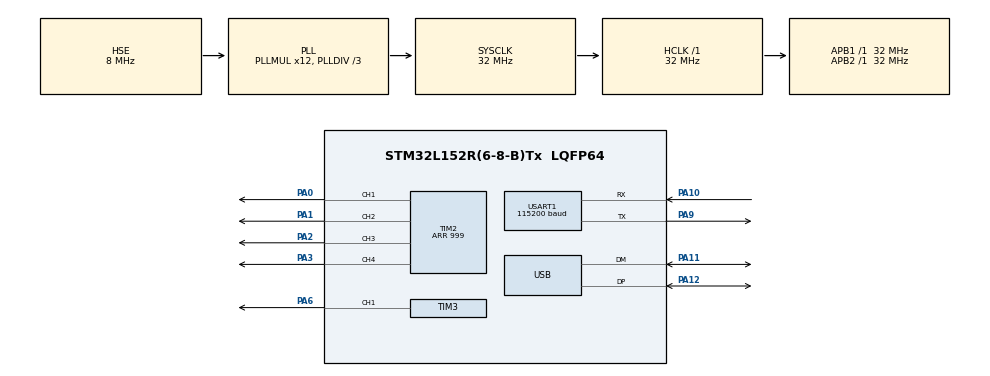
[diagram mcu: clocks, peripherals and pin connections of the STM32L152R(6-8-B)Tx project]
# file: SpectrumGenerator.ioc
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Mcu.Family=STM32L1
Mcu.Name=STM32L152R(6-8-B)Tx
Mcu.Package=LQFP64
NVIC.PriorityGroup=NVIC_PRIORITYGROUP_4
NVIC.USART1_IRQn=true\:0\:0\:false\:false\:true\:true
NVIC.USB_HP_IRQn=true\:0\:0\:false\:false\:true\:true
NVIC.USB_LP_IRQn=true\:0\:0\:false\:false\:true\:false
PA0-WKUP1.Signal=S_TIM2_CH1_ETR
PA1.Signal=S_TIM2_CH2
PA10.Mode=Asynchronous
PA10.Signal=USART1_RX
PA11.Mode=Device
PA11.Signal=USB_DM
PA12.Mode=Device
PA12.Signal=USB_DP
PA13.Mode=Serial_Wire
PA13.Signal=SYS_JTMS-SWDIO
PA14.Mode=Serial_Wire
PA14.Signal=SYS_JTCK-SWCLK
PA2.Signal=S_TIM2_CH3
PA3.Signal=S_TIM2_CH4
PA6.Signal=S_TIM3_CH1
PA9.Mode=Asynchronous
PA9.Signal=USART1_TX
PH0-OSC_IN.Mode=HSE-External-Oscillator
PH0-OSC_IN.Signal=RCC_OSC_IN
PH1-OSC_OUT.Mode=HSE-External-Oscillator
PH1-OSC_OUT.Signal=RCC_OSC_OUT
ProjectManager.HeapSize=0x200
ProjectManager.StackSize=0x400
ProjectManager.TargetToolchain=TrueSTUDIO
RCC.48MHZClocksFreq_Value=48000000
RCC.AHBFreq_Value=32000000
RCC.APB1Freq_Value=32000000
RCC.APB1TimFreq_Value=32000000
RCC.APB2Freq_Value=32000000
RCC.APB2TimFreq_Value=32000000
RCC.HCLKFreq_Value=32000000
RCC.HSE_VALUE=8000000
RCC.HSI_VALUE=16000000
RCC.LSE_VALUE=32768
RCC.MSI_VALUE=2097000
RCC.PLLDIV=RCC_PLL_DIV3
RCC.PLLMUL=RCC_PLL_MUL12
RCC.SYSCLKFreq_VALUE=32000000
RCC.SYSCLKSource=RCC_SYSCLKSOURCE_PLLCLK
RCC.VCOOutputFreq_Value=96000000
SH.S_TIM2_CH1_ETR.0=TIM2_CH1,PWM Generation1 CH1
SH.S_TIM2_CH2.0=TIM2_CH2,PWM Generation2 CH2
SH.S_TIM2_CH3.0=TIM2_CH3,PWM Generation3 CH3
SH.S_TIM2_CH4.0=TIM2_CH4,PWM Generation4 CH4
SH.S_TIM3_CH1.0=TIM3_CH1,PWM Generation1 CH1
TIM2.Channel-PWM\ Generation1\ CH1=TIM_CHANNEL_1
TIM2.Channel-PWM\ Generation2\ CH2=TIM_CHANNEL_2
TIM2.Channel-PWM\ Generation3\ CH3=TIM_CHANNEL_3
TIM2.Channel-PWM\ Generation4\ CH4=TIM_CHANNEL_4
TIM2.Period=999
TIM2.Pulse-PWM\ Generation1\ CH1=499
TIM2.Pulse-PWM\ Generation2\ CH2=499
TIM2.Pulse-PWM\ Generation3\ CH3=499
TIM2.Pulse-PWM\ Generation4\ CH4=499
TIM3.Channel-PWM\ Generation1\ CH1=TIM_CHANNEL_1
TIM3.Period=999
TIM3.Pulse-PWM\ Generation1\ CH1=499
USART1.BaudRate=115200
USART1.VirtualMode=VM_ASYNC
USB_DEVICE.CLASS_NAME_FS=HID
USB_DEVICE.VirtualMode=Hid
USB_DEVICE.VirtualModeFS=Hid_FS
VP_TIM2_VS_ClockSourceINT.Mode=Internal
VP_TIM3_VS_ClockSourceINT.Mode=Internal
VP_USB_DEVICE_VS_USB_DEVICE_HID_FS.Mode=HID_FS
board=SpectrumGenerator

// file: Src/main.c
/**
  ******************************************************************************
  * File Name          : main.c
  * Description        : Main program body
  ******************************************************************************
  * This notice applies to any and all portions of this file
  * that are not between comment pairs USER CODE BEGIN and
  * USER CODE END. Other portions of this file, whether
  * inserted by the user or by software development tools
  * are owned by their respective copyright owners.
  *
  * Copyright (c) 2018 STMicroelectronics International N.V.
  * All rights reserved.
  *
  * Redistribution and use in source and binary forms, with or without
  * modification, are permitted, provided that the following conditions are met:
  *
  * 1. Redistribution of source code must retain the above copyright notice,
  *    this list of conditions and the following disclaimer.
  * 2. Redistributions in binary form must reproduce the above copyright notice,
  *    this list of conditions and the following disclaimer in the documentation
  *    and/or other materials provided with the distribution.
  * 3. Neither the name of STMicroelectronics nor the names of other
  *    contributors to this software may be used to endorse or promote products
  *    derived from this software without specific written permission.
  * 4. This software, including modifications and/or derivative works of this
  *    software, must execute solely and exclusively on microcontroller or
  *    microprocessor devices manufactured by or for STMicroelectronics.
  * 5. Redistribution and use of this software other than as permitted under
  *    this license is void and will automatically terminate your rights under
  *    this license.
  *
  * THIS SOFTWARE IS PROVIDED BY STMICROELECTRONICS AND CONTRIBUTORS "AS IS"
  * AND ANY EXPRESS, IMPLIED OR STATUTORY WARRANTIES, INCLUDING, BUT NOT
  * LIMITED TO, THE IMPLIED WARRANTIES OF MERCHANTABILITY, FITNESS FOR A
  * PARTICULAR PURPOSE AND NON-INFRINGEMENT OF THIRD PARTY INTELLECTUAL PROPERTY
  * RIGHTS ARE DISCLAIMED TO THE FULLEST EXTENT PERMITTED BY LAW. IN NO EVENT
  * SHALL STMICROELECTRONICS OR CONTRIBUTORS BE LIABLE FOR ANY DIRECT, INDIRECT,
  * INCIDENTAL, SPECIAL, EXEMPLARY, OR CONSEQUENTIAL DAMAGES (INCLUDING, BUT NOT
  * LIMITED TO, PROCUREMENT OF SUBSTITUTE GOODS OR SERVICES; LOSS OF USE, DATA,
  * OR PROFITS; OR BUSINESS INTERRUPTION) HOWEVER CAUSED AND ON ANY THEORY OF
  * LIABILITY, WHETHER IN CONTRACT, STRICT LIABILITY, OR TORT (INCLUDING
  * NEGLIGENCE OR OTHERWISE) ARISING IN ANY WAY OUT OF THE USE OF THIS SOFTWARE,
  * EVEN IF ADVISED OF THE POSSIBILITY OF SUCH DAMAGE.
  *
  ******************************************************************************
  */

#include "main.h"
#include "stm32l1xx_hal.h"
#include "tim.h"
#include "usart.h"
#include "usb_device.h"
#include "gpio.h"

/* USER CODE BEGIN Includes */
#include "stm32l1xx_hal_tim.h"
#include "usbd_hid.h"
#include <string.h>
#include <stdlib.h>
/* USER CODE END Includes */

/* USER CODE BEGIN PV */
/* Private variables ---------------------------------------------------------*/
//extern char CMD[64];
//extern int CMD_Length;
//extern uint8_t CMD_Flag;
extern USBD_DescriptorsTypeDef FS_Desc;

/* USER CODE END PV */

void SystemClock_Config(void);

/* USER CODE BEGIN PFP */
/* Private function prototypes -----------------------------------------------*/

/* USER CODE END PFP */

/* USER CODE BEGIN 0 */
void HandleCommand(char * CMD_String, int String_Length)
{
	HAL_UART_Transmit(&huart1, (uint8_t *)CMD_String, String_Length, 100);
	//USBD_HID_SendReport(&hUsbDeviceFS, (uint8_t *)CMD_String, String_Length);
	char * single_cmd;
	single_cmd = strtok(CMD_String, ",");
	while (single_cmd!=NULL)
	{
		USBD_HID_SendReport(&hUsbDeviceFS, (uint8_t *)single_cmd, strlen(single_cmd));

		if (strncmp(single_cmd,"PD",2)==0)
		{
			int PD_NUMBER = ((int)single_cmd[2] - (int)'1' + 1);
			int PWM = atoi(&single_cmd[4]);
			switch (PD_NUMBER)
			{
				case 1:
					__HAL_TIM_SET_COMPARE(&htim2, TIM_CHANNEL_1, PWM);
					break;
				case 2:
					__HAL_TIM_SET_COMPARE(&htim2, TIM_CHANNEL_2, PWM);
					break;
				case 3:
					__HAL_TIM_SET_COMPARE(&htim2, TIM_CHANNEL_3, PWM);
					break;
				case 4:
					__HAL_TIM_SET_COMPARE(&htim2, TIM_CHANNEL_4, PWM);
					break;
				case 5:
					__HAL_TIM_SET_COMPARE(&htim3, TIM_CHANNEL_1, PWM);
					break;
			}
		}
		single_cmd = strtok (NULL, ",");
	}
}

/* USER CODE END 0 */

int main(void)
{

  /* MCU Configuration----------------------------------------------------------*/

  /* Reset of all peripherals, Initializes the Flash interface and the Systick. */
  HAL_Init();

  /* Configure the system clock */
  SystemClock_Config();

  /* Initialize all configured peripherals */
  MX_GPIO_Init();
  MX_TIM2_Init();
  MX_TIM3_Init();
  MX_USART1_UART_Init();
  MX_USB_DEVICE_Init();

  /* USER CODE BEGIN 2 */
  __HAL_UART_ENABLE_IT(&huart1, UART_IT_RXNE);
  HAL_TIM_PWM_Start(&htim2, TIM_CHANNEL_ALL);
  HAL_TIM_PWM_Start(&htim3, TIM_CHANNEL_1);

  USBD_Init(&hUsbDeviceFS, &FS_Desc, 0);
  USBD_RegisterClass(&hUsbDeviceFS, USBD_HID_CLASS);
  USBD_Start(&hUsbDeviceFS);
  /* USER CODE END 2 */

  /* Infinite loop */
  /* USER CODE BEGIN WHILE */
 // uint16_t usb_count = 0;
  //uint8_t usb_buff[4] = {0,1,2,3};
  while (1)
  {
  /* USER CODE END WHILE */

  /* USER CODE BEGIN 3 */
	  /*if (CMD_Flag==1)
	  {
		  HandleCommand(CMD, CMD_Length);
		  CMD_Length = 0;
		  CMD_Flag = 0;
	  }*/

	//  USBD_HID_SendReport(&hUsbDeviceFS, usb_buff, 4);
	 // HAL_Delay(1000);
  }
  /* USER CODE END 3 */

}

/** System Clock Configuration
*/
void SystemClock_Config(void)
{

  RCC_OscInitTypeDef RCC_OscInitStruct;
  RCC_ClkInitTypeDef RCC_ClkInitStruct;

    /**Configure the main internal regulator output voltage
    */
  __HAL_PWR_VOLTAGESCALING_CONFIG(PWR_REGULATOR_VOLTAGE_SCALE1);

    /**Initializes the CPU, AHB and APB busses clocks
    */
  RCC_OscInitStruct.OscillatorType = RCC_OSCILLATORTYPE_HSE;
  RCC_OscInitStruct.HSEState = RCC_HSE_ON;
  RCC_OscInitStruct.PLL.PLLState = RCC_PLL_ON;
  RCC_OscInitStruct.PLL.PLLSource = RCC_PLLSOURCE_HSE;
  RCC_OscInitStruct.PLL.PLLMUL = RCC_PLL_MUL12;
  RCC_OscInitStruct.PLL.PLLDIV = RCC_PLL_DIV3;
  if (HAL_RCC_OscConfig(&RCC_OscInitStruct) != HAL_OK)
  {
    _Error_Handler(__FILE__, __LINE__);
  }

    /**Initializes the CPU, AHB and APB busses clocks
    */
  RCC_ClkInitStruct.ClockType = RCC_CLOCKTYPE_HCLK|RCC_CLOCKTYPE_SYSCLK
                              |RCC_CLOCKTYPE_PCLK1|RCC_CLOCKTYPE_PCLK2;
  RCC_ClkInitStruct.SYSCLKSource = RCC_SYSCLKSOURCE_PLLCLK;
  RCC_ClkInitStruct.AHBCLKDivider = RCC_SYSCLK_DIV1;
  RCC_ClkInitStruct.APB1CLKDivider = RCC_HCLK_DIV1;
  RCC_ClkInitStruct.APB2CLKDivider = RCC_HCLK_DIV1;

  if (HAL_RCC_ClockConfig(&RCC_ClkInitStruct, FLASH_LATENCY_1) != HAL_OK)
  {
    _Error_Handler(__FILE__, __LINE__);
  }

    /**Configure the Systick interrupt time
    */
  HAL_SYSTICK_Config(HAL_RCC_GetHCLKFreq()/1000);

    /**Configure the Systick
    */
  HAL_SYSTICK_CLKSourceConfig(SYSTICK_CLKSOURCE_HCLK);

  /* SysTick_IRQn interrupt configuration */
  HAL_NVIC_SetPriority(SysTick_IRQn, 0, 0);
}

void _Error_Handler(char * file, int line)
{
  while(1)
  {
  }
}

/************************ (C) COPYRIGHT STMicroelectronics *****END OF FILE****/
